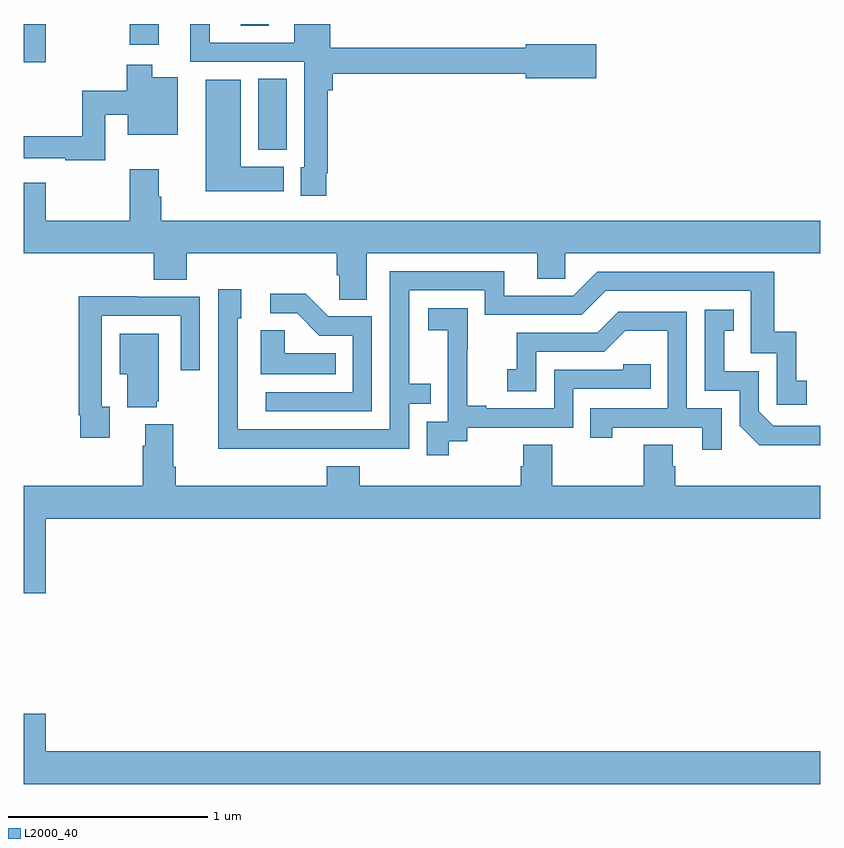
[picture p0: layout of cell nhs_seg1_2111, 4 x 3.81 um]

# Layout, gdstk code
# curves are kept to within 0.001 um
import gdstk
lib = gdstk.Library(unit=1e-6, precision=1e-09)
def R(c, l, rs):  # rectangles x0, y0, x1, y1
    for r in rs: c.add(gdstk.rectangle(r[:2], r[2:], *l))
def P(c, l, *ps):  # polygons
    for p in ps: c.add(gdstk.Polygon(p, *l))
L2000_40 = (2000, 40)

nhs_seg1_2111 = lib.new_cell('nhs_seg1_2111')
R(nhs_seg1_2111, L2000_40, [(226.178,569.567,226.321,569.924), (225,570.006,225.112,570.199), (225.532,570.096,225.679,570.199), (226.091,570.19,226.231,570.199)])
P(nhs_seg1_2111, L2000_40, [(226.519,569.449),(226.526,569.449),(226.526,569.867),(226.553,569.867),(226.553,569.95),(227.522,569.95),(227.522,569.927),(227.875,569.927),(227.875,570.097),(227.522,570.097),(227.522,570.079),(226.54,570.079),(226.54,570.199),(226.358,570.199),(226.358,570.105),(225.934,570.105),(225.934,570.199),(225.836,570.199),(225.836,570.009),(226.41,570.009),(226.41,569.481),(226.391,569.481),(226.391,569.337),(226.519,569.337)],
  [(225.411,569.743),(225.524,569.743),(225.524,569.642),(225.775,569.642),(225.775,569.932),(225.646,569.932),(225.646,569.995),(225.517,569.995),(225.517,569.864),(225.295,569.864),(225.295,569.635),(225,569.635),(225,569.526),(225.208,569.526),(225.208,569.514),(225.411,569.514)],
  [(226.306,569.482),(226.09,569.482),(226.09,569.92),(225.914,569.92),(225.914,569.36),(226.306,569.36)],
  [(226.723,569.048),(227.579,569.048),(227.579,568.921),(227.718,568.921),(227.718,569.048),(229,569.048),(229,569.212),(225.692,569.212),(225.692,569.333),(225.679,569.333),(225.679,569.47),(225.532,569.47),(225.532,569.212),(225.112,569.212),(225.112,569.401),(225,569.401),(225,569.048),(225.653,569.048),(225.653,568.915),(225.818,568.915),(225.818,569.048),(226.571,569.048),(226.571,568.939),(226.584,568.939),(226.584,568.816),(226.723,568.816)],
  [(226.439,568.068),(226.935,568.068),(226.935,568.293),(227.045,568.293),(227.045,568.394),(226.935,568.394),(226.935,568.863),(227.316,568.863),(227.316,568.74),(227.802,568.74),(227.922,568.86),(228.651,568.86),(228.651,568.545),(228.78,568.545),(228.78,568.287),(228.931,568.287),(228.931,568.407),(228.878,568.407),(228.878,568.654),(228.767,568.654),(228.767,568.956),(227.88,568.956),(227.76,568.836),(227.413,568.836),(227.413,568.959),(226.839,568.959),(226.839,568.164),(226.074,568.164),(226.074,568.722),(226.093,568.722),(226.093,568.867),(225.978,568.867),(225.978,568.373),(225.976,568.373),(225.976,568.067)],
  [(226.749,568.731),(226.53,568.731),(226.417,568.844),(226.239,568.844),(226.239,568.746),(226.373,568.746),(226.484,568.635),(226.653,568.635),(226.653,568.35),(226.215,568.35),(226.215,568.254),(226.749,568.254)],
  [(225.433,568.278),(225.393,568.278),(225.393,568.734),(225.789,568.734),(225.789,568.461),(225.885,568.461),(225.885,568.83),(225.569,568.83),(225.569,568.832),(225.277,568.832),(225.277,568.234),(225.285,568.234),(225.285,568.122),(225.433,568.122)],
  [(227.134,568.105),(227.226,568.105),(227.226,568.173),(227.76,568.173),(227.76,568.368),(228.149,568.368),(228.149,568.491),(228.009,568.491),(228.009,568.464),(227.664,568.464),(227.664,568.269),(227.323,568.269),(227.323,568.282),(227.228,568.282),(227.228,568.565),(227.229,568.565),(227.229,568.771),(227.031,568.771),(227.031,568.661),(227.129,568.661),(227.129,568.433),(227.13,568.433),(227.13,568.203),(227.025,568.203),(227.025,568.035),(227.134,568.035)],
  [(229,568.182),(228.762,568.182),(228.69,568.254),(228.69,568.455),(228.517,568.455),(228.517,568.659),(228.566,568.659),(228.566,568.765),(228.42,568.765),(228.42,568.359),(228.594,568.359),(228.594,568.182),(228.692,568.085),(229,568.085)],
  [(228.504,568.269),(228.33,568.269),(228.33,568.755),(227.984,568.755),(227.879,568.65),(227.476,568.65),(227.476,568.465),(227.427,568.465),(227.427,568.356),(227.574,568.356),(227.574,568.554),(227.916,568.554),(228.02,568.658),(228.234,568.658),(228.234,568.269),(227.845,568.269),(227.845,568.122),(227.956,568.122),(227.956,568.173),(228.407,568.173),(228.407,568.062),(228.504,568.062)],
  [(226.568,568.546),(226.311,568.546),(226.311,568.661),(226.19,568.661),(226.19,568.442),(226.568,568.442)],
  [(225.668,568.305),(225.679,568.305),(225.679,568.645),(225.482,568.645),(225.482,568.442),(225.521,568.442),(225.521,568.274),(225.668,568.274)],
  [(225.112,567.716),(229,567.716),(229,567.88),(228.272,567.88),(228.272,567.978),(228.259,567.978),(228.259,568.088),(228.112,568.088),(228.112,567.88),(227.655,567.88),(227.655,568.088),(227.507,568.088),(227.507,567.978),(227.495,567.978),(227.495,567.88),(226.688,567.88),(226.688,567.979),(226.523,567.979),(226.523,567.88),(225.764,567.88),(225.764,567.976),(225.751,567.976),(225.751,568.189),(225.611,568.189),(225.611,568.082),(225.599,568.082),(225.599,567.88),(225,567.88),(225,567.342),(225.112,567.342)],
  [(229,566.548),(225.112,566.548),(225.112,566.737),(225,566.737),(225,566.384),(229,566.384)])

lib.write_gds('nhs_seg1_2111.gds')
